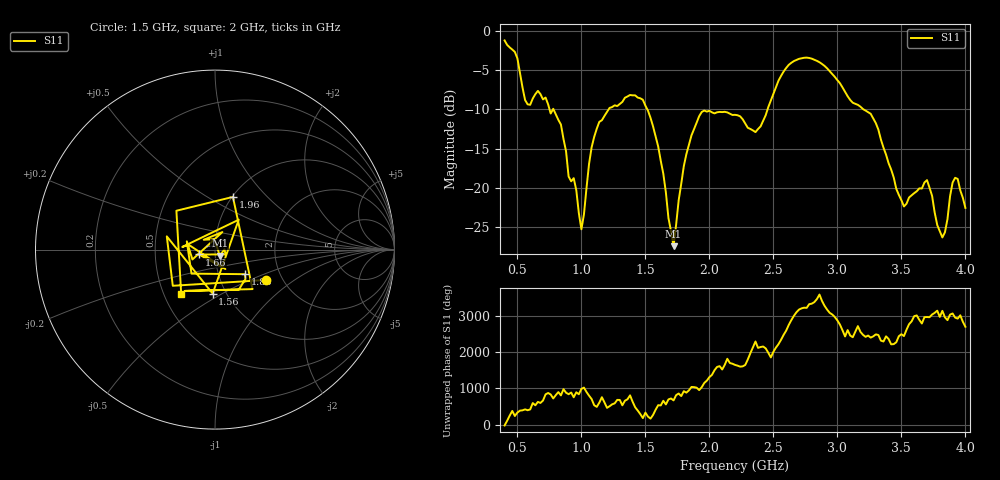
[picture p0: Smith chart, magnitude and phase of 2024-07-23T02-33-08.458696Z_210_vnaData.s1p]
!Created with skrf (http://scikit-rf.org).
# Hz S RI R 50.0
!freq ReS11 ImS11
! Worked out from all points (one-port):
!   181 points, 400 MHz to 4 GHz, reference 50 ohm
!   lowest |S11| = -27.4 dB at 1.72 GHz (marker M1), VSWR 1.09, Z = 52.6 - j3.51 ohm
!   |S11| at or under -10 dB: 781.4 MHz to 1.214 GHz (432.2 MHz wide, 43.3 % of centre); 1.514 GHz to 2.455 GHz (940.6 MHz wide, 47.4 % of centre); 3.202 GHz to end of sweep (the widest 3 of 4)
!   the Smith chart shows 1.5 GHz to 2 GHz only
!   S11 on the Smith chart (normalised r, x): 1.5 GHz: 1.66, -0.63; 1.56 GHz: 0.86, -0.45; 1.66 GHz: 0.83, -0.05; 1.86 GHz: 1.34, -0.38; 1.96 GHz: 1.01, +0.65; 2 GHz: 0.61, -0.33
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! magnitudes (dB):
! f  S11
! 400 MHz  -1.3
! 500 MHz  -3.5
! 580 MHz  -9.4
! 720 MHz  -8.5
! 860 MHz  -13.8
! 1 GHz  -25.3
! 1.1 GHz  -13.5
! 1.3 GHz  -9.3
! 1.5 GHz  -9.6
! 1.56 GHz  -12.2
! 1.66 GHz  -20.6
! 1.72 GHz  -27.4
! 1.76 GHz  -21.6
! 1.86 GHz  -13.3
! 1.96 GHz  -10.2
! 2 GHz  -10.2
! 2.2 GHz  -10.7
! 2.36 GHz  -12.9
! 2.66 GHz  -3.9
! 2.88 GHz  -4.3
! 3.1 GHz  -8.8
! 3.26 GHz  -10.6
! 3.52 GHz  -22.4
! 3.56 GHz  -21.2
! 3.7 GHz  -19.0
! 3.82 GHz  -26.3
! 3.92 GHz  -18.7
! 4 GHz  -22.5
